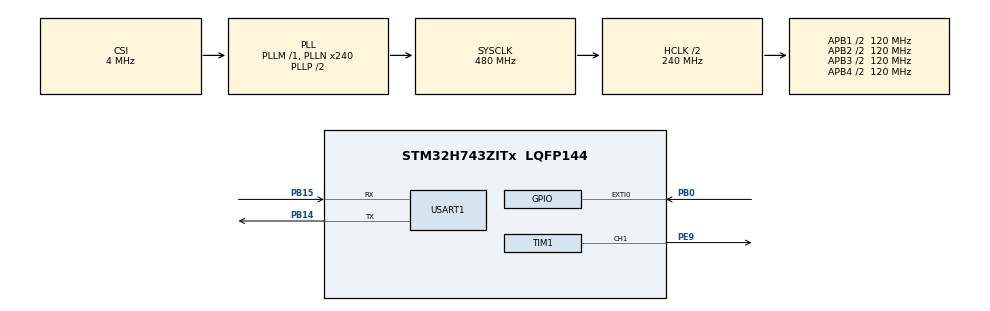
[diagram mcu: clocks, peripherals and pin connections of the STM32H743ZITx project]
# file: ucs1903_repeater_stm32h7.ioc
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Dma.Request0=TIM1_CH1
Dma.TIM1_CH1.0.Direction=DMA_MEMORY_TO_PERIPH
Dma.TIM1_CH1.0.EventEnable=DISABLE
Dma.TIM1_CH1.0.FIFOMode=DMA_FIFOMODE_DISABLE
Dma.TIM1_CH1.0.Instance=DMA2_Stream1
Dma.TIM1_CH1.0.MemDataAlignment=DMA_MDATAALIGN_HALFWORD
Dma.TIM1_CH1.0.MemInc=DMA_MINC_ENABLE
Dma.TIM1_CH1.0.Mode=DMA_NORMAL
Dma.TIM1_CH1.0.PeriphDataAlignment=DMA_PDATAALIGN_HALFWORD
Dma.TIM1_CH1.0.PeriphInc=DMA_PINC_DISABLE
Dma.TIM1_CH1.0.Polarity=HAL_DMAMUX_REQ_GEN_RISING
Dma.TIM1_CH1.0.Priority=DMA_PRIORITY_LOW
Dma.TIM1_CH1.0.RequestNumber=1
Dma.TIM1_CH1.0.SignalID=NONE
Dma.TIM1_CH1.0.SyncEnable=DISABLE
Dma.TIM1_CH1.0.SyncPolarity=HAL_DMAMUX_SYNC_NO_EVENT
Dma.TIM1_CH1.0.SyncRequestNumber=1
Dma.TIM1_CH1.0.SyncSignalID=NONE
Mcu.Family=STM32H7
Mcu.Name=STM32H743ZITx
Mcu.Package=LQFP144
NVIC.DMA2_Stream1_IRQn=true\:0\:0\:false\:false\:true\:false\:true\:true
NVIC.EXTI0_IRQn=true\:0\:0\:false\:false\:true\:true\:true\:true
NVIC.PriorityGroup=NVIC_PRIORITYGROUP_4
PB0.GPIO_PuPd=GPIO_NOPULL
PB0.Signal=GPXTI0
PB14.Mode=Asynchronous
PB14.Signal=USART1_TX
PB15.Mode=Asynchronous
PB15.Signal=USART1_RX
PE9.Signal=S_TIM1_CH1
ProjectManager.HeapSize=0x200
ProjectManager.StackSize=0x400
ProjectManager.TargetToolchain=STM32CubeIDE
RCC.ADCFreq_Value=51600000
RCC.APB1Freq_Value=120000000
RCC.APB2Freq_Value=120000000
RCC.APB3Freq_Value=120000000
RCC.APB4Freq_Value=120000000
RCC.CortexFreq_Value=480000000
RCC.D1PPRE=RCC_APB3_DIV2
RCC.D2PPRE1=RCC_APB1_DIV2
RCC.D2PPRE2=RCC_APB2_DIV2
RCC.D3PPRE=RCC_APB4_DIV2
RCC.DIVM1=1
RCC.DIVM2=5
RCC.DIVM3=5
RCC.DIVN1=240
RCC.HCLKFreq_Value=240000000
RCC.HPRE=RCC_HCLK_DIV2
RCC.HSE_VALUE=25000000
RCC.PLLSourceVirtual=RCC_PLLSOURCE_CSI
RCC.ProductRev=revV
RCC.SYSCLKFreq_VALUE=480000000
RCC.SYSCLKSource=RCC_SYSCLKSOURCE_PLLCLK
RCC.USBFreq_Value=480000000
SH.S_TIM1_CH1.0=TIM1_CH1,PWM Generation1 CH1
TIM1.Channel-PWM\ Generation1\ CH1=TIM_CHANNEL_1
TIM1.Period=600-1
TIM2.Prescaler=240-1
USART1.VirtualMode-Asynchronous=VM_ASYNC
VP_TIM1_VS_ClockSourceINT.Mode=Internal
VP_TIM2_VS_ClockSourceINT.Mode=Internal
board=custom

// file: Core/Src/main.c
/* USER CODE BEGIN Header */
/**
  ******************************************************************************
  * @file           : main.c
  * @brief          : Main program body
  ******************************************************************************
  * @attention
  *
  * Copyright (c) 2024 STMicroelectronics.
  * All rights reserved.
  *
  * This software is licensed under terms that can be found in the LICENSE file
  * in the root directory of this software component.
  * If no LICENSE file comes with this software, it is provided AS-IS.
  *
  ******************************************************************************
  */
/* USER CODE END Header */
#include "main.h"

/* USER CODE BEGIN Includes */
#define USE_BRIGHTNESS	0
#define MAX_LED			999   // MAXIMUM LED AMOUNT
#define MAX_PATTERNS	23976 // MAXIMUM LED AMOUNT * 24, PATTERN Bits, 1 LED includes 24 bits for RGB color
#define MAX_PWM_DATA	23986
/* USER CODE END Includes */

TIM_HandleTypeDef htim1;
TIM_HandleTypeDef htim2;
DMA_HandleTypeDef hdma_tim1_ch1;

UART_HandleTypeDef huart1;

void SystemClock_Config(void);
static void MX_GPIO_Init(void);
static void MX_DMA_Init(void);
static void MX_TIM1_Init(void);
static void MX_TIM2_Init(void);
static void MX_USART1_UART_Init(void);

/* USER CODE BEGIN 0 */
uint16_t LED_NUMBER = 0;
uint16_t cnt = 0;

uint32_t ICValue = 0;
uint32_t freq = 0;
//uint8_t prev_pattern[MAX_PATTERNS] = {0};
//uint8_t pattern[MAX_PATTERNS] = {0};

uint32_t timestamp = 0;
///uint8_t rgb[MAX_LED][3] = {0x00};

//uint8_t LED_Data[MAX_LED][3] = {0x00};
//uint16_t LED_Data_Index[MAX_LED];
//uint8_t LED_Mod[MAX_LED][4];

uint16_t pwmData[MAX_PWM_DATA] = {0x0000};
uint32_t led_data[MAX_LED] = {0};
uint16_t led_count = 0;

uint8_t datasentflag = 1;

uint8_t ignore_flag = 0;
uint8_t captured_flag = 0;
uint8_t streaming_flag = 0;

uint8_t i = 0;

// generate the PWM duty to drive the UCS1903
void WS2812_Send (void)
{
	uint16_t indx=0;
	uint16_t m = 0;
	int8_t j = 0;

	if (datasentflag == 1) // Finished transmitting the data.
	{

		datasentflag = 0; // Clear the flag

		for (m= 0; m<LED_NUMBER; m++)
		{
				for (j=23; j>=0; j--)
				{
					if (led_data[m]&(1<<j))
					{
						pwmData[indx] = 336;  // This is the PWM Duty to send the logic 1 to the UCS1903
					}

					else{
						pwmData[indx] = 84;  // This is the PWM Duty to send the logic 0 to the UCS1903
					}

					indx++;
				}

		}

		for (m=0; m<10; m++)
		{
			pwmData[indx] = 0;
			indx++;
		}

		// Start transmit
		HAL_TIM_PWM_Start_DMA(&htim1, TIM_CHANNEL_1, (uint32_t *)pwmData, indx);
	}
}

/*
 void filter(void)
{
	ignore_flag = 1;
	uint16_t i = 0;

	for(i = 0; i < (24 * LED_NUMBER); i++){
		if(prev_pattern[i] != pattern[i]){
			ignore_flag = 0;
		}
		prev_pattern[i] = pattern[i];
	}
}
*/

/* USER CODE END 0 */

int main(void)
{

  /* MCU Configuration--------------------------------------------------------*/

  /* Reset of all peripherals, Initializes the Flash interface and the Systick. */
  HAL_Init();

  /* Configure the system clock */
  SystemClock_Config();

  /* Initialize all configured peripherals */
  MX_GPIO_Init();
  MX_DMA_Init();
  MX_TIM1_Init();
  MX_TIM2_Init();
  MX_USART1_UART_Init();
  /* USER CODE BEGIN 2 */
  HAL_TIM_Base_Start(&htim2);
  // Initiate the LED_NUMBER, This is the real amount of the LEDs connected to the board and updated real-time.
   LED_NUMBER = MAX_LED;
  /* USER CODE END 2 */

  /* Infinite loop */
  while (1)
  {

    /* USER CODE BEGIN 3 */
	  if (captured_flag == 1){
	  	//filter();
	  	if (ignore_flag == 0){
	  		//print the captured LED data
	  		HAL_UART_Transmit(&huart1, (uint8_t*)led_data, (LED_NUMBER * 4) ,HAL_MAX_DELAY);
	  		// Drive UCS1903 and Lights
	  		WS2812_Send();
	  	}
	  	captured_flag = 0;
	  }

	  // Detect the LED number automatically. If the reset signal is detected while the LEDs are working(streaming_flag==1),
	  // Store LED number and reset the count variable, and set the captured_flag to drive the UCS1903 connected to MCU

	  if ((streaming_flag == 1) && (TIM2->CNT > 30)) { //if the reset code is detected
	  	streaming_flag  = 0;
	  	LED_NUMBER = cnt / 24;
	  	cnt = 0;
	  	captured_flag = 1;
	  }

  }
  /* USER CODE END 3 */
}

void SystemClock_Config(void)
{
  RCC_OscInitTypeDef RCC_OscInitStruct = {0};
  RCC_ClkInitTypeDef RCC_ClkInitStruct = {0};

  /** Supply configuration update enable
  */
  HAL_PWREx_ConfigSupply(PWR_LDO_SUPPLY);

  /** Configure the main internal regulator output voltage
  */
  __HAL_PWR_VOLTAGESCALING_CONFIG(PWR_REGULATOR_VOLTAGE_SCALE1);

  while(!__HAL_PWR_GET_FLAG(PWR_FLAG_VOSRDY)) {}

  __HAL_RCC_SYSCFG_CLK_ENABLE();
  __HAL_PWR_VOLTAGESCALING_CONFIG(PWR_REGULATOR_VOLTAGE_SCALE0);

  while(!__HAL_PWR_GET_FLAG(PWR_FLAG_VOSRDY)) {}

  /** Initializes the RCC Oscillators according to the specified parameters
  * in the RCC_OscInitTypeDef structure.
  */
  RCC_OscInitStruct.OscillatorType = RCC_OSCILLATORTYPE_CSI;
  RCC_OscInitStruct.CSIState = RCC_CSI_ON;
  RCC_OscInitStruct.CSICalibrationValue = RCC_CSICALIBRATION_DEFAULT;
  RCC_OscInitStruct.PLL.PLLState = RCC_PLL_ON;
  RCC_OscInitStruct.PLL.PLLSource = RCC_PLLSOURCE_CSI;
  RCC_OscInitStruct.PLL.PLLM = 1;
  RCC_OscInitStruct.PLL.PLLN = 240;
  RCC_OscInitStruct.PLL.PLLP = 2;
  RCC_OscInitStruct.PLL.PLLQ = 2;
  RCC_OscInitStruct.PLL.PLLR = 2;
  RCC_OscInitStruct.PLL.PLLRGE = RCC_PLL1VCIRANGE_2;
  RCC_OscInitStruct.PLL.PLLVCOSEL = RCC_PLL1VCOWIDE;
  RCC_OscInitStruct.PLL.PLLFRACN = 0;
  if (HAL_RCC_OscConfig(&RCC_OscInitStruct) != HAL_OK)
  {
    Error_Handler();
  }

  /** Initializes the CPU, AHB and APB buses clocks
  */
  RCC_ClkInitStruct.ClockType = RCC_CLOCKTYPE_HCLK|RCC_CLOCKTYPE_SYSCLK
                              |RCC_CLOCKTYPE_PCLK1|RCC_CLOCKTYPE_PCLK2
                              |RCC_CLOCKTYPE_D3PCLK1|RCC_CLOCKTYPE_D1PCLK1;
  RCC_ClkInitStruct.SYSCLKSource = RCC_SYSCLKSOURCE_PLLCLK;
  RCC_ClkInitStruct.SYSCLKDivider = RCC_SYSCLK_DIV1;
  RCC_ClkInitStruct.AHBCLKDivider = RCC_HCLK_DIV2;
  RCC_ClkInitStruct.APB3CLKDivider = RCC_APB3_DIV2;
  RCC_ClkInitStruct.APB1CLKDivider = RCC_APB1_DIV2;
  RCC_ClkInitStruct.APB2CLKDivider = RCC_APB2_DIV2;
  RCC_ClkInitStruct.APB4CLKDivider = RCC_APB4_DIV2;

  if (HAL_RCC_ClockConfig(&RCC_ClkInitStruct, FLASH_LATENCY_4) != HAL_OK)
  {
    Error_Handler();
  }
}

static void MX_TIM1_Init(void)
{

  TIM_ClockConfigTypeDef sClockSourceConfig = {0};
  TIM_MasterConfigTypeDef sMasterConfig = {0};
  TIM_OC_InitTypeDef sConfigOC = {0};
  TIM_BreakDeadTimeConfigTypeDef sBreakDeadTimeConfig = {0};

  htim1.Instance = TIM1;
  htim1.Init.Prescaler = 0;
  htim1.Init.CounterMode = TIM_COUNTERMODE_UP;
  htim1.Init.Period = 600-1;
  htim1.Init.ClockDivision = TIM_CLOCKDIVISION_DIV1;
  htim1.Init.RepetitionCounter = 0;
  htim1.Init.AutoReloadPreload = TIM_AUTORELOAD_PRELOAD_DISABLE;
  if (HAL_TIM_Base_Init(&htim1) != HAL_OK)
  {
    Error_Handler();
  }
  sClockSourceConfig.ClockSource = TIM_CLOCKSOURCE_INTERNAL;
  if (HAL_TIM_ConfigClockSource(&htim1, &sClockSourceConfig) != HAL_OK)
  {
    Error_Handler();
  }
  if (HAL_TIM_PWM_Init(&htim1) != HAL_OK)
  {
    Error_Handler();
  }
  sMasterConfig.MasterOutputTrigger = TIM_TRGO_RESET;
  sMasterConfig.MasterOutputTrigger2 = TIM_TRGO2_RESET;
  sMasterConfig.MasterSlaveMode = TIM_MASTERSLAVEMODE_DISABLE;
  if (HAL_TIMEx_MasterConfigSynchronization(&htim1, &sMasterConfig) != HAL_OK)
  {
    Error_Handler();
  }
  sConfigOC.OCMode = TIM_OCMODE_PWM1;
  sConfigOC.Pulse = 0;
  sConfigOC.OCPolarity = TIM_OCPOLARITY_HIGH;
  sConfigOC.OCNPolarity = TIM_OCNPOLARITY_HIGH;
  sConfigOC.OCFastMode = TIM_OCFAST_DISABLE;
  sConfigOC.OCIdleState = TIM_OCIDLESTATE_RESET;
  sConfigOC.OCNIdleState = TIM_OCNIDLESTATE_RESET;
  if (HAL_TIM_PWM_ConfigChannel(&htim1, &sConfigOC, TIM_CHANNEL_1) != HAL_OK)
  {
    Error_Handler();
  }
  sBreakDeadTimeConfig.OffStateRunMode = TIM_OSSR_DISABLE;
  sBreakDeadTimeConfig.OffStateIDLEMode = TIM_OSSI_DISABLE;
  sBreakDeadTimeConfig.LockLevel = TIM_LOCKLEVEL_OFF;
  sBreakDeadTimeConfig.DeadTime = 0;
  sBreakDeadTimeConfig.BreakState = TIM_BREAK_DISABLE;
  sBreakDeadTimeConfig.BreakPolarity = TIM_BREAKPOLARITY_HIGH;
  sBreakDeadTimeConfig.BreakFilter = 0;
  sBreakDeadTimeConfig.Break2State = TIM_BREAK2_DISABLE;
  sBreakDeadTimeConfig.Break2Polarity = TIM_BREAK2POLARITY_HIGH;
  sBreakDeadTimeConfig.Break2Filter = 0;
  sBreakDeadTimeConfig.AutomaticOutput = TIM_AUTOMATICOUTPUT_DISABLE;
  if (HAL_TIMEx_ConfigBreakDeadTime(&htim1, &sBreakDeadTimeConfig) != HAL_OK)
  {
    Error_Handler();
  }
  HAL_TIM_MspPostInit(&htim1);

}

static void MX_TIM2_Init(void)
{

  TIM_ClockConfigTypeDef sClockSourceConfig = {0};
  TIM_MasterConfigTypeDef sMasterConfig = {0};

  htim2.Instance = TIM2;
  htim2.Init.Prescaler = 240-1;
  htim2.Init.CounterMode = TIM_COUNTERMODE_UP;
  htim2.Init.Period = 4294967295;
  htim2.Init.ClockDivision = TIM_CLOCKDIVISION_DIV1;
  htim2.Init.AutoReloadPreload = TIM_AUTORELOAD_PRELOAD_DISABLE;
  if (HAL_TIM_Base_Init(&htim2) != HAL_OK)
  {
    Error_Handler();
  }
  sClockSourceConfig.ClockSource = TIM_CLOCKSOURCE_INTERNAL;
  if (HAL_TIM_ConfigClockSource(&htim2, &sClockSourceConfig) != HAL_OK)
  {
    Error_Handler();
  }
  sMasterConfig.MasterOutputTrigger = TIM_TRGO_RESET;
  sMasterConfig.MasterSlaveMode = TIM_MASTERSLAVEMODE_DISABLE;
  if (HAL_TIMEx_MasterConfigSynchronization(&htim2, &sMasterConfig) != HAL_OK)
  {
    Error_Handler();
  }

}

static void MX_USART1_UART_Init(void)
{

  huart1.Instance = USART1;
  huart1.Init.BaudRate = 115200;
  huart1.Init.WordLength = UART_WORDLENGTH_8B;
  huart1.Init.StopBits = UART_STOPBITS_1;
  huart1.Init.Parity = UART_PARITY_NONE;
  huart1.Init.Mode = UART_MODE_TX_RX;
  huart1.Init.HwFlowCtl = UART_HWCONTROL_NONE;
  huart1.Init.OverSampling = UART_OVERSAMPLING_16;
  huart1.Init.OneBitSampling = UART_ONE_BIT_SAMPLE_DISABLE;
  huart1.Init.ClockPrescaler = UART_PRESCALER_DIV1;
  huart1.AdvancedInit.AdvFeatureInit = UART_ADVFEATURE_NO_INIT;
  if (HAL_UART_Init(&huart1) != HAL_OK)
  {
    Error_Handler();
  }
  if (HAL_UARTEx_SetTxFifoThreshold(&huart1, UART_TXFIFO_THRESHOLD_1_8) != HAL_OK)
  {
    Error_Handler();
  }
  if (HAL_UARTEx_SetRxFifoThreshold(&huart1, UART_RXFIFO_THRESHOLD_1_8) != HAL_OK)
  {
    Error_Handler();
  }
  if (HAL_UARTEx_DisableFifoMode(&huart1) != HAL_OK)
  {
    Error_Handler();
  }

}

static void MX_DMA_Init(void)
{

  /* DMA controller clock enable */
  __HAL_RCC_DMA2_CLK_ENABLE();

  /* DMA interrupt init */
  /* DMA2_Stream1_IRQn interrupt configuration */
  HAL_NVIC_SetPriority(DMA2_Stream1_IRQn, 0, 0);
  HAL_NVIC_EnableIRQ(DMA2_Stream1_IRQn);

}

static void MX_GPIO_Init(void)
{
  GPIO_InitTypeDef GPIO_InitStruct = {0};

  /* GPIO Ports Clock Enable */
  __HAL_RCC_GPIOB_CLK_ENABLE();
  __HAL_RCC_GPIOE_CLK_ENABLE();

  /*Configure GPIO pin : PB0 */
  GPIO_InitStruct.Pin = GPIO_PIN_0;
  GPIO_InitStruct.Mode = GPIO_MODE_IT_RISING;
  GPIO_InitStruct.Pull = GPIO_NOPULL;
  HAL_GPIO_Init(GPIOB, &GPIO_InitStruct);

  /* EXTI interrupt init*/
  HAL_NVIC_SetPriority(EXTI0_IRQn, 0, 0);
  HAL_NVIC_EnableIRQ(EXTI0_IRQn);

}

/* USER CODE BEGIN 4 */
void HAL_GPIO_EXTI_Callback( uint16_t GPIO_Pin)
{
	// Detect the input signal from UCS1903
	if(GPIO_Pin == GPIO_PIN_0){
		// Initiate the TIM2 counter to calculate the time interval between PWM Color signals
		TIM2->CNT = 0;
		// Set the LED streaming flag
		streaming_flag = 1;
		// LED index in the LED data array. The LED data is 24-bit value that indicates RGB values(8-bit x 3 colors).
		// One PWM pulse indicates one color bit.
		led_count = cnt / 24;

		// if 24-bit color data is fully stored in led_data[led_count], initiate the led_data.
		if (cnt % 24 == 0){
			led_data[led_count] = 0;
		}
		// Store color bits to  led_data[led_count]
		while(TIM2->CNT == 0);

		led_data[led_count] = (led_data[led_count] << 1) + (GPIOB->IDR & 0x00000001);
		//increase counter
		cnt = cnt + 1;
	}
}

void HAL_TIM_PWM_PulseFinishedCallback(TIM_HandleTypeDef *htim)
{
	HAL_TIM_PWM_Stop_DMA(&htim1, TIM_CHANNEL_1);

	// set the flag when all of PWM signal is output
	datasentflag=1;
}
/* USER CODE END 4 */

void Error_Handler(void)
{
  __disable_irq();
  while (1)
  {
  }
}
